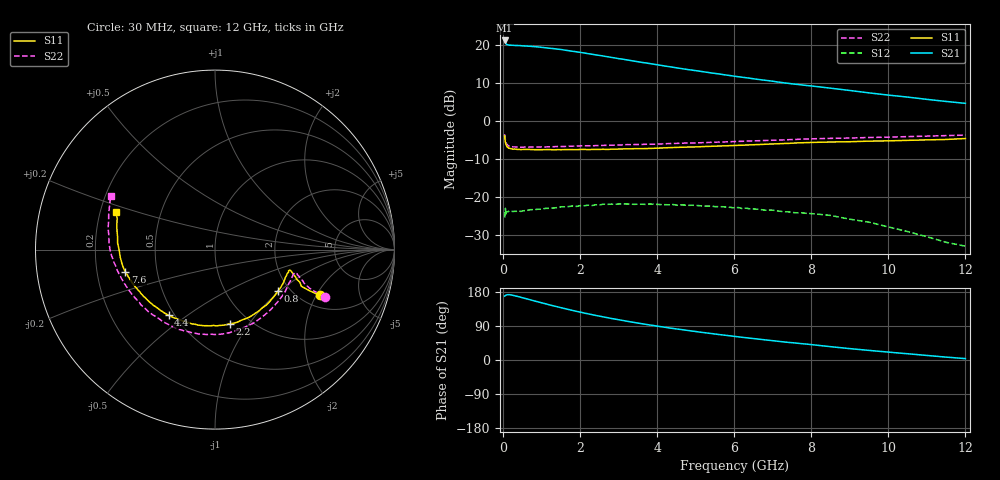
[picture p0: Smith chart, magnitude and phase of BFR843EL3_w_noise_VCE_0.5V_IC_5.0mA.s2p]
! Infineon Technologies  Discrete & RF Semiconductors
! BFR843EL3
! VCE =  0.5 V,  IC =  5.0 mA
! Common Emitter S-Parameters:  Aug 2013
# GHz  S  MA  R  50
!  f  S11  S21  S12  S22
! GHz  MAG  ANG  MAG  ANG  MAG  ANG  MAG  ANG
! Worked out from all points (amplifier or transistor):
!   103 points, 30 MHz to 12 GHz, reference 50 ohm
!   highest |S21| = 21.2 dB at 30 MHz (marker M1)
!   |S21| within 3 dB of that: start of sweep to 1.911 GHz
!   unconditionally stable (mu >= 1): 7.048 GHz to end of sweep
!   at 400 MHz: K = 0.98, MSG = 21.7 dB, |S12| = -23.6 dB
!   at 3.7 GHz: K = 0.72, MSG = 18.6 dB, |S12| = -21.9 dB
!   at 12 GHz: K = 4.57, MAG = 9.2 dB, |S12| = -32.9 dB
!   lowest NFmin = 0.89 dB at 450 MHz
!   S11 on the Smith chart (normalised r, x): 30 MHz: 2.49, -2.14; 800 MHz: 1.74, -0.97; 2.2 GHz: 0.81, -0.82; 4.4 GHz: 0.47, -0.43; 7.6 GHz: 0.33, -0.11; 12 GHz: 0.27, +0.17
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0.03  0.6372 -23.6  11.42 168.5  0.0538 33.9  0.6691 -23.3
0.04  0.573 -23.5  10.93 169.2  0.0588 27.9  0.6042 -22.8
0.06  0.5063 -21.0  10.39 170.6  0.0587 15.0  0.5315 -20.7
0.1  0.455 -17.3  10.05 172.3  0.0645 11.1  0.4876 -17.4
0.15  0.4387 -15.5  9.915 172.4  0.0663 9.5  0.4689 -16.0
0.45  0.4215 -21.8  9.764 165.6  0.0648 4.7  0.4529 -24.6
0.8  0.4199 -33.2  9.475 155.9  0.0686 5.9  0.455 -39.0
1.2  0.4212 -47.6  9.029 145.4  0.0714 5.0  0.4584 -55.3
1.5  0.4198 -57.7  8.686 137.9  0.0746 4.3  0.4621 -66.8
1.9  0.4199 -69.9  8.103 128.3  0.0755 2.8  0.4699 -80.2
2.1  0.4233 -75.7  7.818 123.9  0.0771 2.3  0.4724 -86.9
2.2  0.421 -78.6  7.659 121.8  0.0785 1.1  0.4732 -89.9
2.6  0.4252 -89.1  7.125 113.6  0.0809 -1.1  0.4787 -100.8
3.3  0.4302 -105.2  6.237 100.6  0.0809 -5.8  0.4893 -117.5
4.1  0.4416 -119.8  5.37 87.8  0.0799 -11.2  0.4993 -132.2
4.4  0.4484 -125.2  5.078 83.3  0.0801 -11.9  0.5072 -137.1
5.1  0.4588 -136.2  4.504 73.6  0.0772 -16.0  0.5178 -147.7
6.1  0.4793 -149.1  3.813 61.2  0.0731 -21.0  0.5399 -159.8
7.6  0.5142 -166.0  3.038 44.7  0.0623 -26.4  0.5727 -175.2
8.5  0.5299 -175.4  2.697 35.1  0.0575 -32.7  0.5918 176.4
10.5  0.5569 168.8  2.06 16.5  0.0353 -35.7  0.6239 161.7
12  0.5884 159.4  1.705 3.7  0.0227 -12.1  0.6529 153.0
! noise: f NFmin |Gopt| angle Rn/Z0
0.45  0.89  0.18  11  0.17
0.9  0.9  0.19  27  0.16
1.5  0.94  0.2  42  0.15
1.9  0.96  0.2  45  0.15
2.4  0.98  0.21  58  0.14
3.5  1.03  0.21  79  0.14
5.5  1.12  0.25  116  0.11
8  1.22  0.33  157  0.08
10  1.3  0.42  204  0.05
